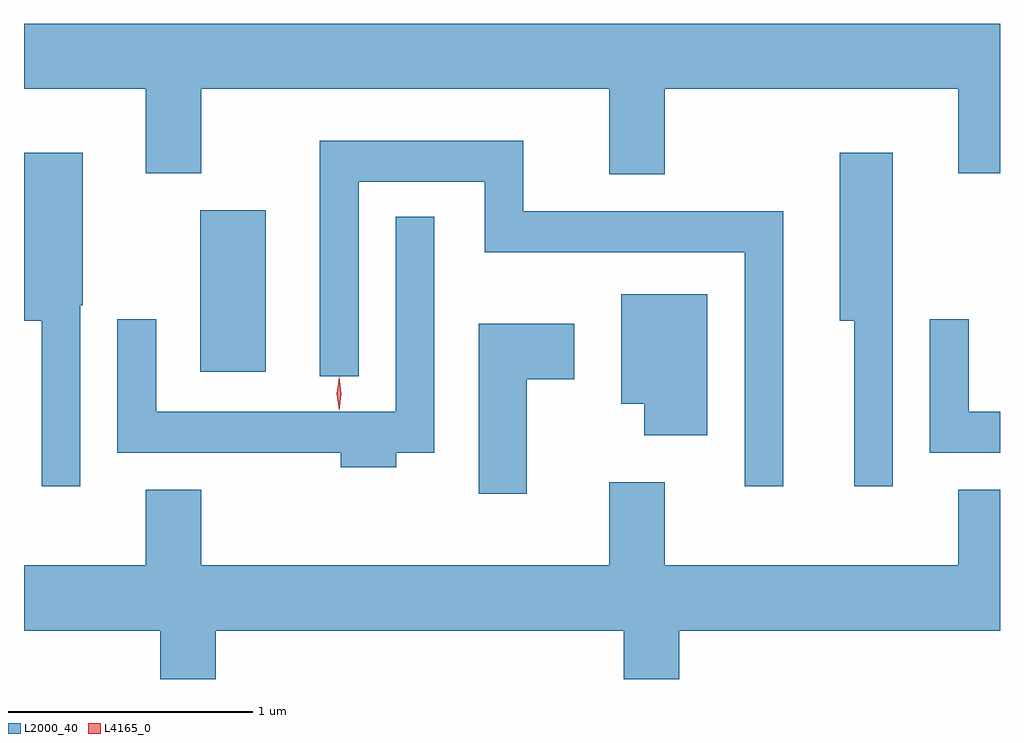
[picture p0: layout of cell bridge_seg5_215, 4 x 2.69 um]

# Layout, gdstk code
import gdstk
lib = gdstk.Library(unit=1e-6, precision=1e-09)
def R(c, l, rs):  # rectangles x0, y0, x1, y1
    for r in rs: c.add(gdstk.rectangle(r[:2], r[2:], *l))
def P(c, l, *ps):  # polygons
    for p in ps: c.add(gdstk.Polygon(p, *l))
L2000_40 = (2000, 40)
L4165_0 = (4165, 0)

bridge_seg5_215 = lib.new_cell('bridge_seg5_215')
R(bridge_seg5_215, L2000_40, [(1327.116,1428.996,1327.384,1429.659)])
P(bridge_seg5_215, L2000_40, [(1329.019,1430.156),(1330.221,1430.156),(1330.221,1429.811),(1330.393,1429.811),(1330.393,1430.424),(1326.393,1430.424),(1326.393,1430.156),(1326.891,1430.156),(1326.891,1429.811),(1327.119,1429.811),(1327.119,1430.156),(1328.791,1430.156),(1328.791,1429.806),(1329.019,1429.806)],
  [(1329.504,1429.654),(1328.439,1429.654),(1328.439,1429.944),(1327.606,1429.944),(1327.606,1428.978),(1327.764,1428.978),(1327.764,1429.776),(1328.281,1429.776),(1328.281,1429.486),(1329.346,1429.486),(1329.346,1428.528),(1329.504,1428.528)],
  [(1329.954,1429.894),(1329.736,1429.894),(1329.736,1429.206),(1329.796,1429.206),(1329.796,1428.528),(1329.954,1428.528)],
  [(1326.624,1429.27),(1326.634,1429.27),(1326.634,1429.894),(1326.393,1429.894),(1326.393,1429.206),(1326.466,1429.206),(1326.466,1428.528),(1326.624,1428.528)],
  [(1327.919,1428.666),(1328.074,1428.666),(1328.074,1429.633),(1327.916,1429.633),(1327.916,1428.834),(1326.934,1428.834),(1326.934,1429.213),(1326.776,1429.213),(1326.776,1428.666),(1327.691,1428.666),(1327.691,1428.606),(1327.919,1428.606)],
  [(1329.194,1429.314),(1328.841,1429.314),(1328.841,1428.866),(1328.936,1428.866),(1328.936,1428.736),(1329.194,1428.736)],
  [(1330.393,1428.834),(1330.264,1428.834),(1330.264,1429.213),(1330.106,1429.213),(1330.106,1428.666),(1330.393,1428.666)],
  [(1328.454,1428.966),(1328.649,1428.966),(1328.649,1429.194),(1328.256,1429.194),(1328.256,1428.496),(1328.454,1428.496)],
  [(1327.179,1427.936),(1328.851,1427.936),(1328.851,1427.736),(1329.079,1427.736),(1329.079,1427.936),(1330.393,1427.936),(1330.393,1428.514),(1330.221,1428.514),(1330.221,1428.204),(1329.019,1428.204),(1329.019,1428.544),(1328.791,1428.544),(1328.791,1428.204),(1327.119,1428.204),(1327.119,1428.514),(1326.891,1428.514),(1326.891,1428.204),(1326.393,1428.204),(1326.393,1427.936),(1326.951,1427.936),(1326.951,1427.736),(1327.179,1427.736)])
P(bridge_seg5_215, L4165_0, [(1327.684,1428.837),(1327.684,1428.838),(1327.674,1428.906),(1327.684,1428.976),(1327.684,1428.976),(1327.685,1428.976),(1327.694,1428.906),(1327.685,1428.838)],
  [(1327.684,1428.839),(1327.684,1428.84),(1327.674,1428.906),(1327.684,1428.972),(1327.684,1428.973),(1327.685,1428.972),(1327.694,1428.906),(1327.685,1428.84)])

lib.write_gds('bridge_seg5_215.gds')
